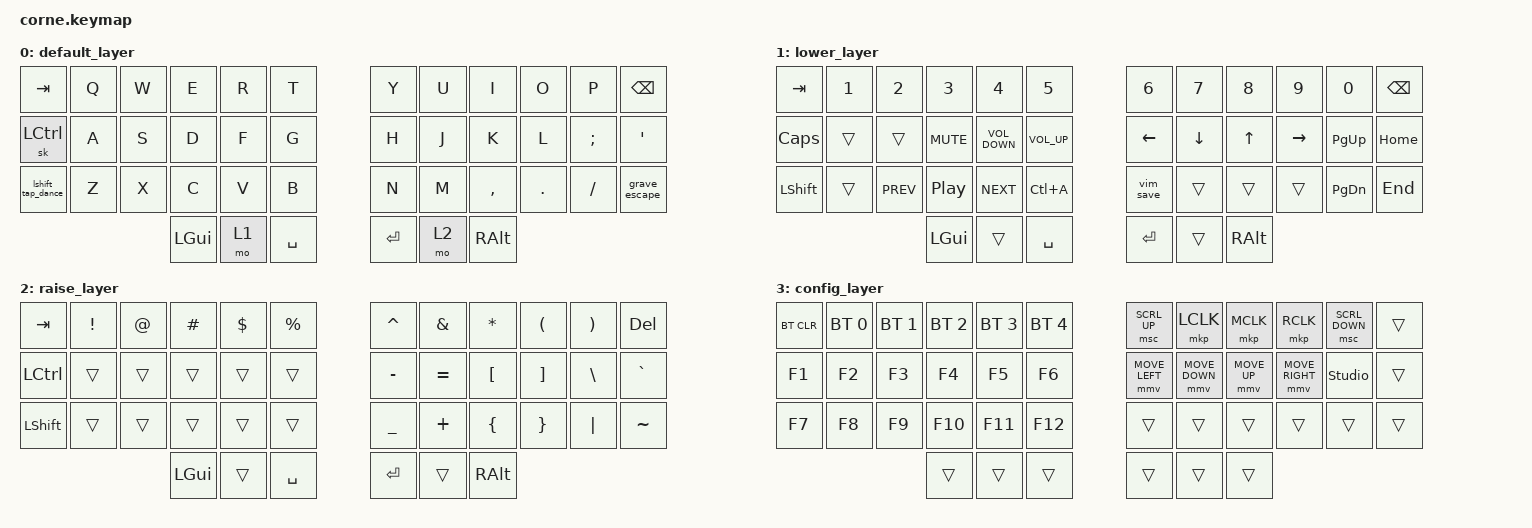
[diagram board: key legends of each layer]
/*
 * Copyright (c) 2020 The ZMK Contributors
 *
 * SPDX-License-Identifier: MIT
 */

#include <behaviors.dtsi>
#include <dt-bindings/zmk/bt.h>
#include <dt-bindings/zmk/keys.h>
#include <dt-bindings/zmk/pointing.h>

/ {
    behaviors {
        lshift_tap_dance: lshift_tap_dance {
            compatible = "zmk,behavior-tap-dance";
            label = "LSHIFT_TAP_DANCE";
            #binding-cells = <0>;
            bindings = <&sk LSHIFT>, <&caps_word>;
        };

        grave_escape: grave_escape {
            compatible = "zmk,behavior-mod-morph";
            label = "GRAVE_ESCAPE";
            bindings = <&kp ESCAPE>, <&kp GRAVE>;

            #binding-cells = <0>;
            mods = <(MOD_LGUI)>;
            keep-mods = <(MOD_LGUI)>;
        };
    };

    macros {
        vim_save: vim_save {
            compatible = "zmk,behavior-macro";
            #binding-cells = <0>;
            bindings = <&kp ESCAPE &kp COLON &kp W &kp RET>;
            label = "VIM_SAVE";
        };
    };

    keymap {
        compatible = "zmk,keymap";

        default_layer {
            // -----------------------------------------------------------------------------------------
            // |  TAB |  Q  |  W  |  E  |  R  |  T  |   |  Y  |  U   |  I  |  O  |  P  | BSPC |
            // | CTRL |  A  |  S  |  D  |  F  |  G  |   |  H  |  J   |  K  |  L  |  ;  |  '   |
            // | SHFT |  Z  |  X  |  C  |  V  |  B  |   |  N  |  M   |  ,  |  .  |  /  | ESC  |
            //                    | GUI | LWR | SPC |   | ENT | RSE  | ALT |

            bindings = <
&kp TAB            &kp Q  &kp W  &kp E     &kp R  &kp T        &kp Y    &kp U  &kp I      &kp O    &kp P     &kp BSPC
&sk LCTRL          &kp A  &kp S  &kp D     &kp F  &kp G        &kp H    &kp J  &kp K      &kp L    &kp SEMI  &kp SQT
&lshift_tap_dance  &kp Z  &kp X  &kp C     &kp V  &kp B        &kp N    &kp M  &kp COMMA  &kp DOT  &kp FSLH  &grave_escape
                                 &kp LGUI  &mo 1  &kp SPACE    &kp RET  &mo 2  &kp RALT
            >;
        };

        lower_layer {
            // -----------------------------------------------------------------------------------------
            // |  TAB |  1  |  2  |  3  |  4  |  5  |   |  6  |  7  |  8  |  9  |  0  | BSPC |
            // | BTCLR| BT1 | BT2 | BT3 | BT4 | BT5 |   | LFT | DWN |  UP | RGT |     |      |
            // | SHFT |     |     |     |     |     |   |     |     |     |     |     |      |
            //                    | GUI |     | SPC |   | ENT |     | ALT |

            bindings = <
&kp TAB       &kp N1  &kp N2      &kp N3            &kp N4             &kp N5             &kp N6     &kp N7    &kp N8    &kp N9     &kp N0         &kp BSPC
&kp CAPSLOCK  &trans  &trans      &kp C_MUTE        &kp C_VOLUME_DOWN  &kp C_VOLUME_UP    &kp LEFT   &kp DOWN  &kp UP    &kp RIGHT  &kp PG_UP      &kp HOME
&kp LSHFT     &trans  &kp C_PREV  &kp C_PLAY_PAUSE  &kp C_NEXT         &kp LC(A)          &vim_save  &trans    &trans    &trans     &kp PAGE_DOWN  &kp END
                                  &kp LGUI          &trans             &kp SPACE          &kp RET    &trans    &kp RALT
            >;
        };

        raise_layer {
            // -----------------------------------------------------------------------------------------
            // |  TAB |  !  |  @  |  #  |  $  |  %  |   |  ^  |  &  |  *  |  (  |  )  | BSPC |
            // | CTRL |     |     |     |     |     |   |  -  |  =  |  [  |  ]  |  \  |  `   |
            // | SHFT |     |     |     |     |     |   |  _  |  +  |  {  |  }  | "|" |  ~   |
            //                    | GUI |     | SPC |   | ENT |     | ALT |

            bindings = <
&kp TAB    &kp EXCL  &kp AT  &kp HASH  &kp DLLR  &kp PRCNT    &kp CARET  &kp AMPS   &kp ASTRK  &kp LPAR  &kp RPAR  &kp DEL
&kp LCTRL  &trans    &trans  &trans    &trans    &trans       &kp MINUS  &kp EQUAL  &kp LBKT   &kp RBKT  &kp BSLH  &kp GRAVE
&kp LSHFT  &trans    &trans  &trans    &trans    &trans       &kp UNDER  &kp PLUS   &kp LBRC   &kp RBRC  &kp PIPE  &kp TILDE
                             &kp LGUI  &trans    &kp SPACE    &kp RET    &trans     &kp RALT
            >;
        };

        config_layer {
            bindings = <
&bt BT_CLR  &bt BT_SEL 0  &bt BT_SEL 1  &bt BT_SEL 2  &bt BT_SEL 3  &bt BT_SEL 4    &msc SCRL_UP    &mkp LCLK       &mkp MCLK     &mkp RCLK        &msc SCRL_DOWN  &trans
&kp F1      &kp F2        &kp F3        &kp F4        &kp F5        &kp F6          &mmv MOVE_LEFT  &mmv MOVE_DOWN  &mmv MOVE_UP  &mmv MOVE_RIGHT  &studio_unlock  &trans
&kp F7      &kp F8        &kp F9        &kp F10       &kp F11       &kp F12         &trans          &trans          &trans        &trans           &trans          &trans
                                        &trans        &trans        &trans          &trans          &trans          &trans
            >;
        };
    };

    conditional_layers {
        compatible = "zmk,conditional-layers";

        config_layer {
            if-layers = <1 2>;
            then-layer = <3>;
        };
    };
};
